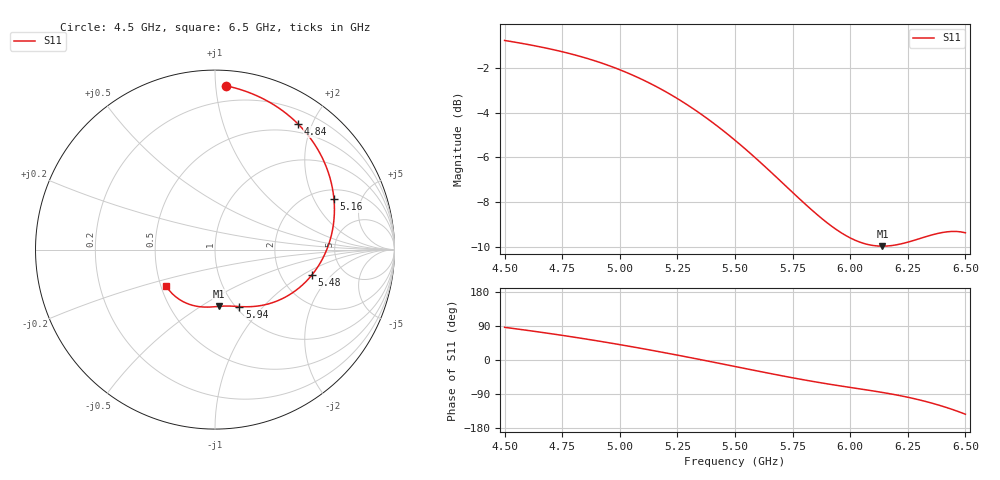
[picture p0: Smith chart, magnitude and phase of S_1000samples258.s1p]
! TOUCHSTONE file generated by CST MICROWAVE STUDIO
! Date and time: Thu Oct 27 13:21:09 2022
! Project name: L.cst
! Parameters = {Di=1.27; Epsilon_r=1.56; InnerDiameter=1.27; Length=2; Lf=10; Lg=60; OuterConductorThickness=0.2921; OuterDiameter=3.6; Wf=3; Wp=41.2; de=1.5; df=6.8; g=0.8; gx=1.75037; gy=3.6751; h=2.34; hf=1.524; px=11.4454; py=11.276; w=9.7; wx=9.69499; wy=7.60093}
! Header version: 2018
! Port assignment regex: !\s*Touchstone port\s*([0-9]+)\s*=\s*(CST MWS port|CST DS port)\s*([0-9]+|Zmin|Zmax)\s*\(\"(.*)\"\)(\s*mode\s*([0-9]+))?.*
! Touchstone port assignment:
! Touchstone port 1 = CST MWS port 1 ("")
# GHz S DB R 50
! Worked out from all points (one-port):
!   101 points, 4.5 GHz to 6.5 GHz, reference 50 ohm
!   lowest |S11| = -10.0 dB at 6.14 GHz (marker M1), VSWR 1.93, Z = 42.7 - j30 ohm
!   |S11| at or under -10 dB: nowhere
!   S11 on the Smith chart (normalised r, x): 4.5 GHz: 0.10, +1.06; 4.84 GHz: 0.38, +1.80; 5.16 GHz: 2.48, +2.92; 5.48 GHz: 2.97, -1.22; 5.94 GHz: 1.04, -0.75; 6.5 GHz: 0.53, -0.25
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4.5  -0.77 86.2
4.58  -0.92 79.7
4.64  -1.03 74.7
4.76  -1.30 64.1
4.84  -1.52 56.6
4.92  -1.78 48.7
5  -2.08 40.5
5.08  -2.44 32.0
5.16  -2.85 23.1
5.26  -3.44 11.7
5.36  -4.12 -0.2
5.42  -4.58 -7.4
5.48  -5.07 -14.7
5.5  -5.24 -17.1
5.56  -5.77 -24.5
5.62  -6.32 -31.7
5.68  -6.89 -38.9
5.76  -7.67 -48.1
5.86  -8.59 -58.8
5.94  -9.23 -66.8
6  -9.61 -72.4
6.08  -9.91 -79.8
6.14  -9.98 -85.7
6.26  -9.77 -99.6
6.34  -9.52 -111.4
6.4  -9.36 -122.0
6.46  -9.32 -134.1
6.5  -9.38 -143.1
